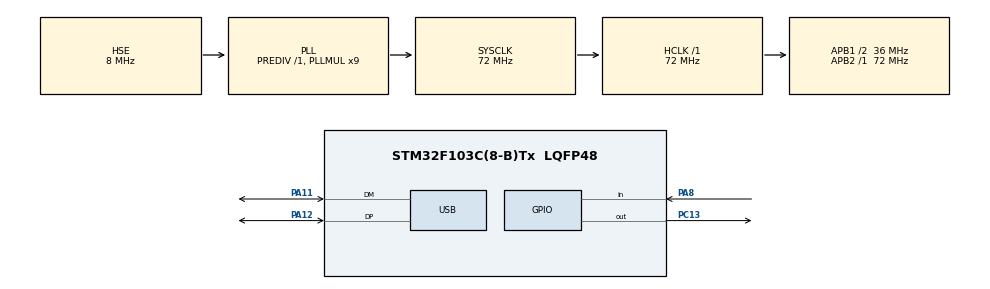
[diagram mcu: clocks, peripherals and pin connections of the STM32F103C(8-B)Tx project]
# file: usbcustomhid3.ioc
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Mcu.Family=STM32F1
Mcu.Name=STM32F103C(8-B)Tx
Mcu.Package=LQFP48
NVIC.PriorityGroup=NVIC_PRIORITYGROUP_4
NVIC.USB_LP_CAN1_RX0_IRQn=true\:0\:0\:false\:false\:true\:false\:true
PA11.Mode=Device
PA11.Signal=USB_DM
PA12.Mode=Device
PA12.Signal=USB_DP
PA13.Mode=Trace_Asynchronous_SW
PA13.Signal=SYS_JTMS-SWDIO
PA14.Mode=Trace_Asynchronous_SW
PA14.Signal=SYS_JTCK-SWCLK
PA8.GPIO_PuPd=GPIO_PULLUP
PA8.Signal=GPIO_Input
PB3.Mode=Trace_Asynchronous_SW
PB3.Signal=SYS_JTDO-TRACESWO
PC13-TAMPER-RTC.Signal=GPIO_Output
PD0-OSC_IN.Mode=HSE-External-Oscillator
PD0-OSC_IN.Signal=RCC_OSC_IN
PD1-OSC_OUT.Mode=HSE-External-Oscillator
PD1-OSC_OUT.Signal=RCC_OSC_OUT
ProjectManager.HeapSize=0x200
ProjectManager.StackSize=0x400
ProjectManager.TargetToolchain=STM32CubeIDE
RCC.AHBFreq_Value=72000000
RCC.APB1CLKDivider=RCC_HCLK_DIV2
RCC.APB1Freq_Value=36000000
RCC.APB1TimFreq_Value=72000000
RCC.APB2Freq_Value=72000000
RCC.APB2TimFreq_Value=72000000
RCC.HCLKFreq_Value=72000000
RCC.PLLMUL=RCC_PLL_MUL9
RCC.SYSCLKFreq_VALUE=72000000
RCC.SYSCLKSource=RCC_SYSCLKSOURCE_PLLCLK
RCC.USBFreq_Value=48000000
RCC.USBPrescaler=RCC_USBCLKSOURCE_PLL_DIV1_5
USB_DEVICE.CLASS_NAME_FS=CUSTOM_HID
USB_DEVICE.PID_CUSTOMHID_FS=22362
USB_DEVICE.USBD_CUSTOMHID_OUTREPORT_BUF_SIZE=8
USB_DEVICE.USBD_CUSTOM_HID_REPORT_DESC_SIZE=42
USB_DEVICE.VirtualMode=CustomHid
USB_DEVICE.VirtualModeFS=Custom_Hid_FS
VP_USB_DEVICE_VS_USB_DEVICE_CUSTOM_HID_FS.Mode=CUSTOM_HID_FS
board=custom

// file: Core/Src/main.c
/* USER CODE BEGIN Header */
/**
  ******************************************************************************
  * @file           : main.c
  * @brief          : Main program body
  ******************************************************************************
  * @attention
  *
  * <h2><center>&copy; Copyright (c) 2020 STMicroelectronics.
  * All rights reserved.</center></h2>
  *
  * This software component is licensed by ST under BSD 3-Clause license,
  * the "License"; You may not use this file except in compliance with the
  * License. You may obtain a copy of the License at:
  *                        opensource.org/licenses/BSD-3-Clause
  *
  ******************************************************************************
  */
/* USER CODE END Header */

#include "main.h"
#include "usb_device.h"

/* USER CODE BEGIN Includes */

#include "usbd_customhid.h"
#include "string.h"
#include "stdio.h"
/* USER CODE END Includes */

/* USER CODE BEGIN PV */

extern USBD_HandleTypeDef hUsbDeviceFS;
uint8_t buffer[4]={0,0,0,0};

/* USER CODE END PV */

void SystemClock_Config(void);
static void MX_GPIO_Init(void);

/* USER CODE BEGIN 0 */
int _write(int file, char *ptr, int len)
 {
	 int DataIdx;
	 for (DataIdx = 0; DataIdx < len; DataIdx++)
	 {
		 ITM_SendChar(*ptr++);
	 }
	 return len;
 }
/* USER CODE END 0 */

int main(void)
{

  /* MCU Configuration--------------------------------------------------------*/

  /* Reset of all peripherals, Initializes the Flash interface and the Systick. */
  HAL_Init();

  /* Configure the system clock */
  SystemClock_Config();

  /* Initialize all configured peripherals */
  MX_GPIO_Init();
  MX_USB_DEVICE_Init();
  /* USER CODE BEGIN 2 */

  uint8_t press = 0;

  /* USER CODE END 2 */

  /* Infinite loop */
  while (1)
  {

    /* USER CODE BEGIN 3 */
	  if(HAL_GPIO_ReadPin(GPIOA, GPIO_PIN_8) == GPIO_PIN_RESET){
		 	HAL_GPIO_WritePin(GPIOC, GPIO_PIN_13,GPIO_PIN_SET);
		 	buffer[0] = 0xff;
		 	buffer[1]= 0xff;
		 	buffer[2]=100;
		 	buffer[3]=100;
		    USBD_CUSTOM_HID_SendReport(&hUsbDeviceFS, buffer, sizeof(buffer));
		    press = 1;
		    //continue;

	 }else{
		  HAL_GPIO_WritePin(GPIOC, GPIO_PIN_13,GPIO_PIN_RESET);
	 }

	  /*if(press == 1){
		  buffer[0]=0x00;
		  buffer[1]=0x00;
		  buffer[2]=0x00;
		  USBD_CUSTOM_HID_SendReport(&hUsbDeviceFS, buffer, sizeof(buffer));
		  press=0;
	  }*/

	  buffer[0]=0x00;
	  buffer[1]=0x00;
	  buffer[2]=0;
	  buffer[3]=0;

	  USBD_CUSTOM_HID_SendReport(&hUsbDeviceFS, buffer, sizeof(buffer));
	  HAL_Delay(10);

	  //printf("Testing SW message %d\n", buffer[0]);

  }
  /* USER CODE END 3 */
}

void SystemClock_Config(void)
{
  RCC_OscInitTypeDef RCC_OscInitStruct = {0};
  RCC_ClkInitTypeDef RCC_ClkInitStruct = {0};
  RCC_PeriphCLKInitTypeDef PeriphClkInit = {0};

  /** Initializes the CPU, AHB and APB busses clocks
  */
  RCC_OscInitStruct.OscillatorType = RCC_OSCILLATORTYPE_HSE;
  RCC_OscInitStruct.HSEState = RCC_HSE_ON;
  RCC_OscInitStruct.HSEPredivValue = RCC_HSE_PREDIV_DIV1;
  RCC_OscInitStruct.HSIState = RCC_HSI_ON;
  RCC_OscInitStruct.PLL.PLLState = RCC_PLL_ON;
  RCC_OscInitStruct.PLL.PLLSource = RCC_PLLSOURCE_HSE;
  RCC_OscInitStruct.PLL.PLLMUL = RCC_PLL_MUL9;
  if (HAL_RCC_OscConfig(&RCC_OscInitStruct) != HAL_OK)
  {
    Error_Handler();
  }
  /** Initializes the CPU, AHB and APB busses clocks
  */
  RCC_ClkInitStruct.ClockType = RCC_CLOCKTYPE_HCLK|RCC_CLOCKTYPE_SYSCLK
                              |RCC_CLOCKTYPE_PCLK1|RCC_CLOCKTYPE_PCLK2;
  RCC_ClkInitStruct.SYSCLKSource = RCC_SYSCLKSOURCE_PLLCLK;
  RCC_ClkInitStruct.AHBCLKDivider = RCC_SYSCLK_DIV1;
  RCC_ClkInitStruct.APB1CLKDivider = RCC_HCLK_DIV2;
  RCC_ClkInitStruct.APB2CLKDivider = RCC_HCLK_DIV1;

  if (HAL_RCC_ClockConfig(&RCC_ClkInitStruct, FLASH_LATENCY_2) != HAL_OK)
  {
    Error_Handler();
  }
  PeriphClkInit.PeriphClockSelection = RCC_PERIPHCLK_USB;
  PeriphClkInit.UsbClockSelection = RCC_USBCLKSOURCE_PLL_DIV1_5;
  if (HAL_RCCEx_PeriphCLKConfig(&PeriphClkInit) != HAL_OK)
  {
    Error_Handler();
  }
}

static void MX_GPIO_Init(void)
{
  GPIO_InitTypeDef GPIO_InitStruct = {0};

  /* GPIO Ports Clock Enable */
  __HAL_RCC_GPIOC_CLK_ENABLE();
  __HAL_RCC_GPIOD_CLK_ENABLE();
  __HAL_RCC_GPIOA_CLK_ENABLE();
  __HAL_RCC_GPIOB_CLK_ENABLE();

  /*Configure GPIO pin Output Level */
  HAL_GPIO_WritePin(GPIOC, GPIO_PIN_13, GPIO_PIN_RESET);

  /*Configure GPIO pin : PC13 */
  GPIO_InitStruct.Pin = GPIO_PIN_13;
  GPIO_InitStruct.Mode = GPIO_MODE_OUTPUT_PP;
  GPIO_InitStruct.Pull = GPIO_NOPULL;
  GPIO_InitStruct.Speed = GPIO_SPEED_FREQ_LOW;
  HAL_GPIO_Init(GPIOC, &GPIO_InitStruct);

  /*Configure GPIO pin : PA8 */
  GPIO_InitStruct.Pin = GPIO_PIN_8;
  GPIO_InitStruct.Mode = GPIO_MODE_INPUT;
  GPIO_InitStruct.Pull = GPIO_PULLUP;
  HAL_GPIO_Init(GPIOA, &GPIO_InitStruct);

}

void Error_Handler(void)
{
}

/************************ (C) COPYRIGHT STMicroelectronics *****END OF FILE****/
